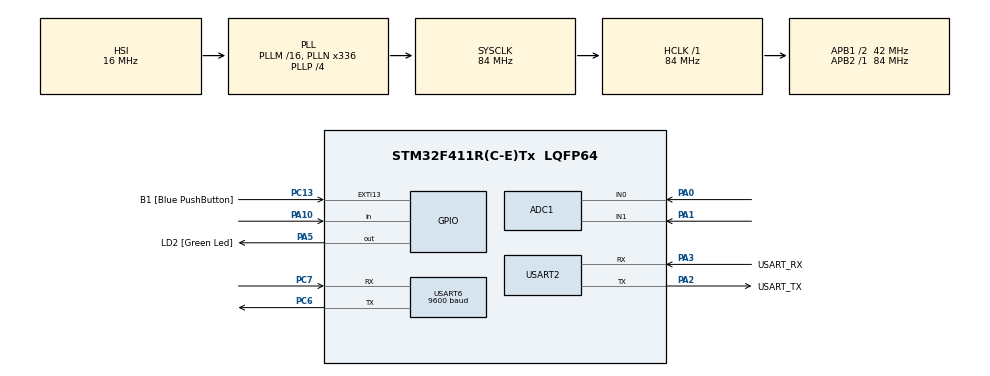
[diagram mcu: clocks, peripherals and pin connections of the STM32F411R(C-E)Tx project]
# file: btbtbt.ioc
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ADC1.Channel-0\#ChannelRegularConversion=ADC_CHANNEL_0
ADC1.Channel-1\#ChannelRegularConversion=ADC_CHANNEL_1
ADC1.ClockPrescaler=ADC_CLOCK_SYNC_PCLK_DIV8
ADC1.ContinuousConvMode=DISABLE
ADC1.DMAContinuousRequests=ENABLE
ADC1.DataAlign=ADC_DATAALIGN_RIGHT
ADC1.DiscontinuousConvMode=ENABLE
ADC1.EOCSelection=ADC_EOC_SEQ_CONV
ADC1.NbrOfConversion=2
ADC1.NbrOfConversionFlag=1
ADC1.NbrOfDiscConversion=2
ADC1.Rank-0\#ChannelRegularConversion=1
ADC1.Rank-1\#ChannelRegularConversion=2
ADC1.SamplingTime-0\#ChannelRegularConversion=ADC_SAMPLETIME_480CYCLES
ADC1.SamplingTime-1\#ChannelRegularConversion=ADC_SAMPLETIME_480CYCLES
ADC1.master=1
Dma.ADC1.0.Direction=DMA_PERIPH_TO_MEMORY
Dma.ADC1.0.FIFOMode=DMA_FIFOMODE_DISABLE
Dma.ADC1.0.Instance=DMA2_Stream0
Dma.ADC1.0.MemDataAlignment=DMA_MDATAALIGN_WORD
Dma.ADC1.0.MemInc=DMA_MINC_ENABLE
Dma.ADC1.0.Mode=DMA_CIRCULAR
Dma.ADC1.0.PeriphDataAlignment=DMA_PDATAALIGN_WORD
Dma.ADC1.0.PeriphInc=DMA_PINC_DISABLE
Dma.ADC1.0.Priority=DMA_PRIORITY_LOW
Dma.Request0=ADC1
Mcu.Family=STM32F4
Mcu.Name=STM32F411R(C-E)Tx
Mcu.Package=LQFP64
NVIC.DMA2_Stream0_IRQn=true\:0\:0\:false\:false\:true\:false\:true\:true
NVIC.PriorityGroup=NVIC_PRIORITYGROUP_0
NVIC.USART2_IRQn=true\:0\:0\:false\:false\:true\:true\:true\:true
NVIC.USART6_IRQn=true\:0\:0\:false\:false\:true\:true\:true\:true
PA0-WKUP.Signal=ADCx_IN0
PA1.Signal=ADCx_IN1
PA10.Signal=GPIO_Input
PA13.GPIO_Label=TMS
PA13.Mode=Serial_Wire
PA13.Signal=SYS_JTMS-SWDIO
PA14.GPIO_Label=TCK
PA14.Mode=Serial_Wire
PA14.Signal=SYS_JTCK-SWCLK
PA2.GPIO_Label=USART_TX
PA2.Mode=Asynchronous
PA2.Signal=USART2_TX
PA3.GPIO_Label=USART_RX
PA3.Mode=Asynchronous
PA3.Signal=USART2_RX
PA5.GPIO_Label=LD2 [Green Led]
PA5.Signal=GPIO_Output
PB3.GPIO_Label=SWO
PB3.Signal=SYS_JTDO-SWO
PC13-ANTI_TAMP.GPIO_Label=B1 [Blue PushButton]
PC13-ANTI_TAMP.GPIO_ModeDefaultEXTI=GPIO_MODE_IT_FALLING
PC13-ANTI_TAMP.Signal=GPXTI13
PC14-OSC32_IN.Mode=LSE-External-Oscillator
PC14-OSC32_IN.Signal=RCC_OSC32_IN
PC15-OSC32_OUT.Mode=LSE-External-Oscillator
PC15-OSC32_OUT.Signal=RCC_OSC32_OUT
PC6.Mode=Asynchronous
PC6.Signal=USART6_TX
PC7.Mode=Asynchronous
PC7.Signal=USART6_RX
PH0\ -\ OSC_IN.Mode=HSE-External-Clock-Source
PH0\ -\ OSC_IN.Signal=RCC_OSC_IN
PH1\ -\ OSC_OUT.Mode=HSE-External-Clock-Source
PH1\ -\ OSC_OUT.Signal=RCC_OSC_OUT
ProjectManager.HeapSize=0x200
ProjectManager.StackSize=0x400
ProjectManager.TargetToolchain=STM32CubeIDE
RCC.48MHZClocksFreq_Value=84000000
RCC.AHBFreq_Value=84000000
RCC.APB1CLKDivider=RCC_HCLK_DIV2
RCC.APB1Freq_Value=42000000
RCC.APB1TimFreq_Value=84000000
RCC.APB2Freq_Value=84000000
RCC.APB2TimFreq_Value=84000000
RCC.CortexFreq_Value=84000000
RCC.FLatency-AdvancedSettings=FLASH_LATENCY_2
RCC.HCLKFreq_Value=84000000
RCC.HSE_VALUE=8000000
RCC.HSI_VALUE=16000000
RCC.PLLN=336
RCC.PLLP=RCC_PLLP_DIV4
RCC.SYSCLKFreq_VALUE=84000000
RCC.SYSCLKSource=RCC_SYSCLKSOURCE_PLLCLK
RCC.VCOOutputFreq_Value=336000000
SH.ADCx_IN0.0=ADC1_IN0,IN0
SH.ADCx_IN1.0=ADC1_IN1,IN1
USART2.VirtualMode=VM_ASYNC
USART6.BaudRate=9600
USART6.VirtualMode=VM_ASYNC
board=NUCLEO-F411RE

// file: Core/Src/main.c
/* USER CODE BEGIN Header */
/**
  ******************************************************************************
  * @file           : main.c
  * @brief          : Main program body
  ******************************************************************************
  * @attention
  *
  * Copyright (c) 2024 STMicroelectronics.
  * All rights reserved.
  *
  * This software is licensed under terms that can be found in the LICENSE file
  * in the root directory of this software component.
  * If no LICENSE file comes with this software, it is provided AS-IS.
  *
  ******************************************************************************
  */
/* USER CODE END Header */
#include "main.h"

/* USER CODE BEGIN Includes */
#include <stdio.h>
#include <string.h>
/* USER CODE END Includes */

/* USER CODE BEGIN PD */
#ifdef __GNUC__
/* With GCC, small printf (option LD Linker->Libraries->Small printf
   set to 'Yes') calls __io_putchar() */
#define PUTCHAR_PROTOTYPE int __io_putchar(int ch)
#else
#define PUTCHAR_PROTOTYPE int fputc(int ch, FILE *f)
#endif /* __GNUC__ */
#define ARR_CNT 5
#define CMD_SIZE 50
/* USER CODE END PD */

ADC_HandleTypeDef hadc1;
DMA_HandleTypeDef hdma_adc1;

UART_HandleTypeDef huart2;
UART_HandleTypeDef huart6;

/* USER CODE BEGIN PV */
uint8_t rx2char;
volatile unsigned char rx2Flag = 0;
volatile char rx2Data[50];

volatile unsigned char btFlag = 0;
uint8_t btchar;
char btData[50];

volatile unsigned char jsFlag = RESET;
uint16_t JoyStick_XY[2];
/* USER CODE END PV */

void SystemClock_Config(void);
static void MX_GPIO_Init(void);
static void MX_DMA_Init(void);
static void MX_USART2_UART_Init(void);
static void MX_USART6_UART_Init(void);
static void MX_ADC1_Init(void);
/* USER CODE BEGIN PFP */
void bluetooth_Event();
void HAL_IncTick(void);
/* USER CODE END PFP */

int main(void)
{

  /* MCU Configuration--------------------------------------------------------*/

  /* Reset of all peripherals, Initializes the Flash interface and the Systick. */
  HAL_Init();

  /* Configure the system clock */
  SystemClock_Config();

  /* Initialize all configured peripherals */
  MX_GPIO_Init();
  MX_DMA_Init();
  MX_USART2_UART_Init();
  MX_USART6_UART_Init();
  MX_ADC1_Init();
  /* USER CODE BEGIN 2 */
  HAL_UART_Receive_IT(&huart2, &rx2char,1);
  HAL_UART_Receive_IT(&huart6, &btchar,1);

  HAL_ADC_Start_DMA(&hadc1, (uint32_t *)JoyStick_XY, 2);

  printf("start main_adc()\r\n");
//  char buf[10] = "Hello\r";
  /* USER CODE END 2 */

  /* Infinite loop */
  /* USER CODE BEGIN WHILE */
  while (1)
  {
	  if(rx2Flag)
	  {
	  		printf("recv2 : %s\r\n",rx2Data);
	  		rx2Flag = 0;
	  //    HAL_UART_Transmit(&huart6, (uint8_t *)buf, strlen(buf), 0xFFFF);
	  }
	  if(btFlag)
	  {
		  printf("bt : %s\r\n",btData);
		  btFlag = 0;
		  bluetooth_Event();
	  }
	  if(jsFlag){
		  jsFlag = RESET;
		  JoyStick_XY[1] = HAL_ADC_GetValue(&hadc1);
		  HAL_ADC_Start_DMA(&hadc1, (uint32_t *)JoyStick_XY, 2);
		  printf("%d,%d\r\n", JoyStick_XY[0], JoyStick_XY[1]);
	  }
    /* USER CODE END WHILE */

    /* USER CODE BEGIN 3 */
	__NOP();
  }
  /* USER CODE END 3 */
}

void SystemClock_Config(void)
{
  RCC_OscInitTypeDef RCC_OscInitStruct = {0};
  RCC_ClkInitTypeDef RCC_ClkInitStruct = {0};

  /** Configure the main internal regulator output voltage
  */
  __HAL_RCC_PWR_CLK_ENABLE();
  __HAL_PWR_VOLTAGESCALING_CONFIG(PWR_REGULATOR_VOLTAGE_SCALE1);

  /** Initializes the RCC Oscillators according to the specified parameters
  * in the RCC_OscInitTypeDef structure.
  */
  RCC_OscInitStruct.OscillatorType = RCC_OSCILLATORTYPE_HSI;
  RCC_OscInitStruct.HSIState = RCC_HSI_ON;
  RCC_OscInitStruct.HSICalibrationValue = RCC_HSICALIBRATION_DEFAULT;
  RCC_OscInitStruct.PLL.PLLState = RCC_PLL_ON;
  RCC_OscInitStruct.PLL.PLLSource = RCC_PLLSOURCE_HSI;
  RCC_OscInitStruct.PLL.PLLM = 16;
  RCC_OscInitStruct.PLL.PLLN = 336;
  RCC_OscInitStruct.PLL.PLLP = RCC_PLLP_DIV4;
  RCC_OscInitStruct.PLL.PLLQ = 4;
  if (HAL_RCC_OscConfig(&RCC_OscInitStruct) != HAL_OK)
  {
    Error_Handler();
  }

  /** Initializes the CPU, AHB and APB buses clocks
  */
  RCC_ClkInitStruct.ClockType = RCC_CLOCKTYPE_HCLK|RCC_CLOCKTYPE_SYSCLK
                              |RCC_CLOCKTYPE_PCLK1|RCC_CLOCKTYPE_PCLK2;
  RCC_ClkInitStruct.SYSCLKSource = RCC_SYSCLKSOURCE_PLLCLK;
  RCC_ClkInitStruct.AHBCLKDivider = RCC_SYSCLK_DIV1;
  RCC_ClkInitStruct.APB1CLKDivider = RCC_HCLK_DIV2;
  RCC_ClkInitStruct.APB2CLKDivider = RCC_HCLK_DIV1;

  if (HAL_RCC_ClockConfig(&RCC_ClkInitStruct, FLASH_LATENCY_2) != HAL_OK)
  {
    Error_Handler();
  }
}

static void MX_ADC1_Init(void)
{

  ADC_ChannelConfTypeDef sConfig = {0};

  /** Configure the global features of the ADC (Clock, Resolution, Data Alignment and number of conversion)
  */
  hadc1.Instance = ADC1;
  hadc1.Init.ClockPrescaler = ADC_CLOCK_SYNC_PCLK_DIV8;
  hadc1.Init.Resolution = ADC_RESOLUTION_12B;
  hadc1.Init.ScanConvMode = ENABLE;
  hadc1.Init.ContinuousConvMode = DISABLE;
  hadc1.Init.DiscontinuousConvMode = ENABLE;
  hadc1.Init.NbrOfDiscConversion = 2;
  hadc1.Init.ExternalTrigConvEdge = ADC_EXTERNALTRIGCONVEDGE_NONE;
  hadc1.Init.ExternalTrigConv = ADC_SOFTWARE_START;
  hadc1.Init.DataAlign = ADC_DATAALIGN_RIGHT;
  hadc1.Init.NbrOfConversion = 2;
  hadc1.Init.DMAContinuousRequests = ENABLE;
  hadc1.Init.EOCSelection = ADC_EOC_SEQ_CONV;
  if (HAL_ADC_Init(&hadc1) != HAL_OK)
  {
    Error_Handler();
  }

  /** Configure for the selected ADC regular channel its corresponding rank in the sequencer and its sample time.
  */
  sConfig.Channel = ADC_CHANNEL_0;
  sConfig.Rank = 1;
  sConfig.SamplingTime = ADC_SAMPLETIME_480CYCLES;
  if (HAL_ADC_ConfigChannel(&hadc1, &sConfig) != HAL_OK)
  {
    Error_Handler();
  }

  /** Configure for the selected ADC regular channel its corresponding rank in the sequencer and its sample time.
  */
  sConfig.Channel = ADC_CHANNEL_1;
  sConfig.Rank = 2;
  if (HAL_ADC_ConfigChannel(&hadc1, &sConfig) != HAL_OK)
  {
    Error_Handler();
  }

}

static void MX_USART2_UART_Init(void)
{

  huart2.Instance = USART2;
  huart2.Init.BaudRate = 115200;
  huart2.Init.WordLength = UART_WORDLENGTH_8B;
  huart2.Init.StopBits = UART_STOPBITS_1;
  huart2.Init.Parity = UART_PARITY_NONE;
  huart2.Init.Mode = UART_MODE_TX_RX;
  huart2.Init.HwFlowCtl = UART_HWCONTROL_NONE;
  huart2.Init.OverSampling = UART_OVERSAMPLING_16;
  if (HAL_UART_Init(&huart2) != HAL_OK)
  {
    Error_Handler();
  }

}

static void MX_USART6_UART_Init(void)
{

  huart6.Instance = USART6;
  huart6.Init.BaudRate = 9600;
  huart6.Init.WordLength = UART_WORDLENGTH_8B;
  huart6.Init.StopBits = UART_STOPBITS_1;
  huart6.Init.Parity = UART_PARITY_NONE;
  huart6.Init.Mode = UART_MODE_TX_RX;
  huart6.Init.HwFlowCtl = UART_HWCONTROL_NONE;
  huart6.Init.OverSampling = UART_OVERSAMPLING_16;
  if (HAL_UART_Init(&huart6) != HAL_OK)
  {
    Error_Handler();
  }

}

static void MX_DMA_Init(void)
{

  /* DMA controller clock enable */
  __HAL_RCC_DMA2_CLK_ENABLE();

  /* DMA interrupt init */
  /* DMA2_Stream0_IRQn interrupt configuration */
  HAL_NVIC_SetPriority(DMA2_Stream0_IRQn, 0, 0);
  HAL_NVIC_EnableIRQ(DMA2_Stream0_IRQn);

}

static void MX_GPIO_Init(void)
{
  GPIO_InitTypeDef GPIO_InitStruct = {0};

  /* GPIO Ports Clock Enable */
  __HAL_RCC_GPIOC_CLK_ENABLE();
  __HAL_RCC_GPIOH_CLK_ENABLE();
  __HAL_RCC_GPIOA_CLK_ENABLE();
  __HAL_RCC_GPIOB_CLK_ENABLE();

  /*Configure GPIO pin Output Level */
  HAL_GPIO_WritePin(LD2_GPIO_Port, LD2_Pin, GPIO_PIN_RESET);

  /*Configure GPIO pin : B1_Pin */
  GPIO_InitStruct.Pin = B1_Pin;
  GPIO_InitStruct.Mode = GPIO_MODE_IT_FALLING;
  GPIO_InitStruct.Pull = GPIO_NOPULL;
  HAL_GPIO_Init(B1_GPIO_Port, &GPIO_InitStruct);

  /*Configure GPIO pin : LD2_Pin */
  GPIO_InitStruct.Pin = LD2_Pin;
  GPIO_InitStruct.Mode = GPIO_MODE_OUTPUT_PP;
  GPIO_InitStruct.Pull = GPIO_NOPULL;
  GPIO_InitStruct.Speed = GPIO_SPEED_FREQ_LOW;
  HAL_GPIO_Init(LD2_GPIO_Port, &GPIO_InitStruct);

  /*Configure GPIO pin : PA10 */
  GPIO_InitStruct.Pin = GPIO_PIN_10;
  GPIO_InitStruct.Mode = GPIO_MODE_INPUT;
  GPIO_InitStruct.Pull = GPIO_NOPULL;
  HAL_GPIO_Init(GPIOA, &GPIO_InitStruct);

}

/* USER CODE BEGIN 4 */
void MX_GPIO_LED_ON(int pin)
{
	HAL_GPIO_WritePin(LD2_GPIO_Port, pin, GPIO_PIN_SET);
}

void MX_GPIO_LED_OFF(int pin)
{
	HAL_GPIO_WritePin(LD2_GPIO_Port, pin, GPIO_PIN_RESET);
}

void HAL_IncTick(void) // HAL_getTick()
{
    uwTick += uwTickFreq;
    if((uwTick % 50)==0) //100mS tick
    {
    	jsFlag = SET;
    }
}

void bluetooth_Event()
{

  int i=0;
  char * pToken;
  char * pArray[ARR_CNT]={0};
  char recvBuf[CMD_SIZE]={0};
  char sendBuf[CMD_SIZE]={0};
  strcpy(recvBuf,btData);

  printf("btData : %s\r\n",btData);

  pToken = strtok(recvBuf,"[@]");
  while(pToken != NULL)
  {
    pArray[i] =  pToken;
    if(++i >= ARR_CNT)
      break;
    pToken = strtok(NULL,"[@]");
  }
//  printf("pArray[0] : %s\r\n",pArray[0]);
//  printf("pArray[1] : %s\r\n",pArray[1]);
//  printf("pArray[2] : %s\r\n",pArray[2]);

  if(!strcmp(pArray[1],"LED"))
  {
		if(!strcmp(pArray[2],"ON"))
		{
			MX_GPIO_LED_ON(LD2_Pin);
		}
		else if(!strcmp(pArray[2],"OFF"))
		{
			MX_GPIO_LED_OFF(LD2_Pin);
		}
  }
  else if(!strncmp(pArray[1]," New conn",sizeof(" New conn")))
  {
      return;
  }
  else if(!strncmp(pArray[1]," Already log",sizeof(" Already log")))
  {
      return;
  }
  else
      return;

  sprintf(sendBuf,"[%s]%s@%s\n",pArray[0],pArray[1],pArray[2]);
  HAL_UART_Transmit(&huart6, (uint8_t *)sendBuf, strlen(sendBuf), 0xFFFF);

}
/**
  * @brief  Retargets the C library printf function to the USART.
  * @param  None
  * @retval None
  */
PUTCHAR_PROTOTYPE
{
  /* Place your implementation of fputc here */
  /* e.g. write a character to the USART6 and Loop until the end of transmission */
  HAL_UART_Transmit(&huart2, (uint8_t *)&ch, 1, 0xFFFF);

  return ch;
}
void HAL_UART_RxCpltCallback(UART_HandleTypeDef *huart)
{
    if(huart->Instance == USART2)
    {
    	static int i=0;
    	rx2Data[i] = rx2char;
    	if((rx2Data[i] == '\r')||(btData[i] == '\n'))
    	{
    		rx2Data[i] = '\0';
    		rx2Flag = 1;
    		i = 0;
    	}
    	else
    	{
    		i++;
    	}
    	HAL_UART_Receive_IT(&huart2, &rx2char,1);
    }
    if(huart->Instance == USART6)
    {
    	static int i=0;
    	btData[i] = btchar;
    	if((btData[i] == '\n') || btData[i] == '\r')
    	{
    		btData[i] = '\0';
    		btFlag = 1;
    		i = 0;
    	}
    	else
    	{
    		i++;
    	}
    	HAL_UART_Receive_IT(&huart6, &btchar,1);
    }
}
/* USER CODE END 4 */

void Error_Handler(void)
{
  __disable_irq();
  while (1)
  {
  }
}
